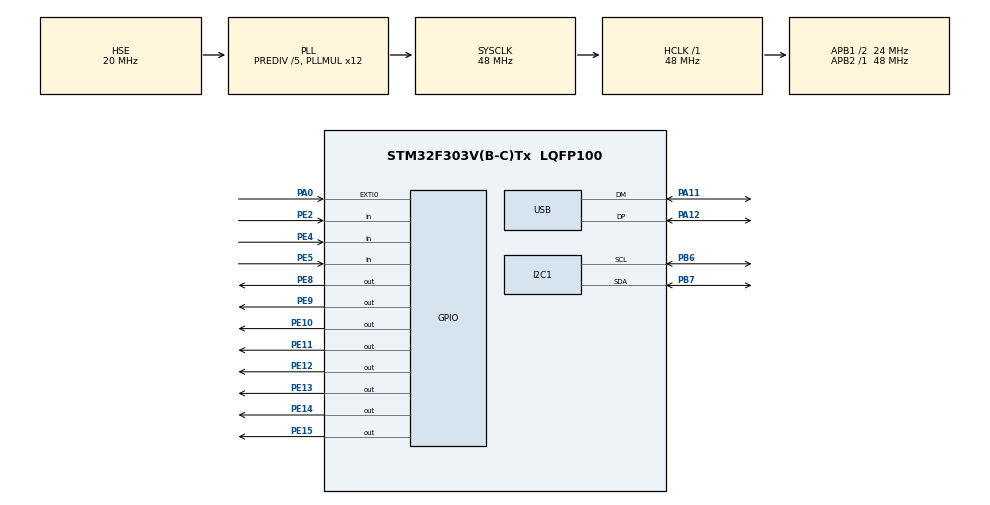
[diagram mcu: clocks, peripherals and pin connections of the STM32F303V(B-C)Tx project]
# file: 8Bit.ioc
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FREERTOS.Tasks01=defaultTask,0,128,StartDefaultTask,Default,NULL
I2C1.Timing=0x20303E5D
Mcu.Family=STM32F3
Mcu.Name=STM32F303V(B-C)Tx
Mcu.Package=LQFP100
NVIC.EXTI0_IRQn=true\:5\:0\:false\:false\:true\:true\:true
NVIC.PriorityGroup=NVIC_PRIORITYGROUP_4
NVIC.TIM1_UP_TIM16_IRQn=true\:0\:0\:false\:false\:true\:false\:false
NVIC.TIM7_IRQn=true\:5\:0\:false\:false\:true\:true\:true
NVIC.TimeBase=TIM1_UP_TIM16_IRQn
NVIC.TimeBaseIP=TIM1
PA0.Signal=GPXTI0
PA11.Mode=Device
PA11.Signal=USB_DM
PA12.Mode=Device
PA12.Signal=USB_DP
PA13.Mode=Serial_Wire
PA13.Signal=SYS_JTMS-SWDIO
PA14.Mode=Serial_Wire
PA14.Signal=SYS_JTCK-SWCLK
PB6.Mode=I2C
PB6.Signal=I2C1_SCL
PB7.Mode=I2C
PB7.Signal=I2C1_SDA
PE10.Signal=GPIO_Output
PE11.Signal=GPIO_Output
PE12.Signal=GPIO_Output
PE13.Signal=GPIO_Output
PE14.Signal=GPIO_Output
PE15.Signal=GPIO_Output
PE2.Signal=GPIO_Input
PE4.Signal=GPIO_Input
PE5.Signal=GPIO_Input
PE8.Signal=GPIO_Output
PE9.Signal=GPIO_Output
PF0-OSC_IN.Mode=HSE-External-Oscillator
PF0-OSC_IN.Signal=RCC_OSC_IN
PF1-OSC_OUT.Mode=HSE-External-Oscillator
PF1-OSC_OUT.Signal=RCC_OSC_OUT
ProjectManager.HeapSize=0x200
ProjectManager.StackSize=0x400
ProjectManager.TargetToolchain=EWARM
RCC.AHBFreq_Value=48000000
RCC.APB1CLKDivider=RCC_HCLK_DIV2
RCC.APB1Freq_Value=24000000
RCC.APB1TimFreq_Value=48000000
RCC.APB2Freq_Value=48000000
RCC.APB2TimFreq_Value=48000000
RCC.CortexFreq_Value=48000000
RCC.HCLKFreq_Value=48000000
RCC.HSE_VALUE=20000000
RCC.HSI_VALUE=8000000
RCC.I2c1ClockSelection=RCC_I2C1CLKSOURCE_SYSCLK
RCC.LSE_VALUE=32768
RCC.PLLMUL=RCC_PLL_MUL12
RCC.RCC_PLLsource_Clock_Source_FROM_HSE=RCC_HSE_PREDIV_DIV5
RCC.SYSCLKFreq_VALUE=48000000
RCC.SYSCLKSourceVirtual=RCC_SYSCLKSOURCE_PLLCLK
RCC.USBFreq_Value=48000000
TIM7.Period=999
TIM7.Prescaler=11999
VP_FREERTOS_VS_ENABLE.Mode=Enabled
VP_SYS_VS_tim1.Mode=TIM1
VP_TIM7_VS_ClockSourceINT.Mode=Enable_Timer
board=8Bit

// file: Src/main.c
/**
  ******************************************************************************
  * File Name          : main.c
  * Description        : Main program body
  ******************************************************************************
  * This notice applies to any and all portions of this file
  * that are not between comment pairs USER CODE BEGIN and
  * USER CODE END. Other portions of this file, whether
  * inserted by the user or by software development tools
  * are owned by their respective copyright owners.
  *
  * Copyright (c) 2018 STMicroelectronics International N.V.
  * All rights reserved.
  *
  * Redistribution and use in source and binary forms, with or without
  * modification, are permitted, provided that the following conditions are met:
  *
  * 1. Redistribution of source code must retain the above copyright notice,
  *    this list of conditions and the following disclaimer.
  * 2. Redistributions in binary form must reproduce the above copyright notice,
  *    this list of conditions and the following disclaimer in the documentation
  *    and/or other materials provided with the distribution.
  * 3. Neither the name of STMicroelectronics nor the names of other
  *    contributors to this software may be used to endorse or promote products
  *    derived from this software without specific written permission.
  * 4. This software, including modifications and/or derivative works of this
  *    software, must execute solely and exclusively on microcontroller or
  *    microprocessor devices manufactured by or for STMicroelectronics.
  * 5. Redistribution and use of this software other than as permitted under
  *    this license is void and will automatically terminate your rights under
  *    this license.
  *
  * THIS SOFTWARE IS PROVIDED BY STMICROELECTRONICS AND CONTRIBUTORS "AS IS"
  * AND ANY EXPRESS, IMPLIED OR STATUTORY WARRANTIES, INCLUDING, BUT NOT
  * LIMITED TO, THE IMPLIED WARRANTIES OF MERCHANTABILITY, FITNESS FOR A
  * PARTICULAR PURPOSE AND NON-INFRINGEMENT OF THIRD PARTY INTELLECTUAL PROPERTY
  * RIGHTS ARE DISCLAIMED TO THE FULLEST EXTENT PERMITTED BY LAW. IN NO EVENT
  * SHALL STMICROELECTRONICS OR CONTRIBUTORS BE LIABLE FOR ANY DIRECT, INDIRECT,
  * INCIDENTAL, SPECIAL, EXEMPLARY, OR CONSEQUENTIAL DAMAGES (INCLUDING, BUT NOT
  * LIMITED TO, PROCUREMENT OF SUBSTITUTE GOODS OR SERVICES; LOSS OF USE, DATA,
  * OR PROFITS; OR BUSINESS INTERRUPTION) HOWEVER CAUSED AND ON ANY THEORY OF
  * LIABILITY, WHETHER IN CONTRACT, STRICT LIABILITY, OR TORT (INCLUDING
  * NEGLIGENCE OR OTHERWISE) ARISING IN ANY WAY OUT OF THE USE OF THIS SOFTWARE,
  * EVEN IF ADVISED OF THE POSSIBILITY OF SUCH DAMAGE.
  *
  ******************************************************************************
  */

#include "main.h"
#include "stm32f3xx_hal.h"
#include "cmsis_os.h"

/* USER CODE BEGIN Includes */
#include "LED_Lib.h"
#include <stdio.h>
#include "Accelerometer.h"

/* USER CODE END Includes */

I2C_HandleTypeDef hi2c1;

TIM_HandleTypeDef htim7;

PCD_HandleTypeDef hpcd_USB_FS;

osThreadId defaultTaskHandle;

/* USER CODE BEGIN PV */
/* Private variables ---------------------------------------------------------*/
#define LD_PORT GPIOE

#define LD3 GPIO_PIN_9 //RED1

#define LD4 GPIO_PIN_8 //BLUE1

#define LD5 GPIO_PIN_10 //ORANGE1

#define LD6 GPIO_PIN_15 //GREEN1

#define LD7 GPIO_PIN_11 //GREEN2

#define LD8 GPIO_PIN_14 //ORANGE2

#define LD9 GPIO_PIN_12 //BLUE2

#define LD10 GPIO_PIN_13 //RED2

#define LD3_ON HAL_GPIO_WritePin(LD_PORT, LD3, GPIO_PIN_SET) //RED1

#define LD4_ON HAL_GPIO_WritePin(LD_PORT, LD4, GPIO_PIN_SET) //BLUE1

#define LD5_ON HAL_GPIO_WritePin(LD_PORT, LD5, GPIO_PIN_SET) //ORANGE1

#define LD6_ON HAL_GPIO_WritePin(LD_PORT, LD6, GPIO_PIN_SET) //GREEN1

#define LD7_ON HAL_GPIO_WritePin(LD_PORT, LD7, GPIO_PIN_SET) //GREEN2

#define LD8_ON HAL_GPIO_WritePin(LD_PORT, LD8, GPIO_PIN_SET) //ORANGE2

#define LD9_ON HAL_GPIO_WritePin(LD_PORT, LD9, GPIO_PIN_SET) //BLUE2

#define LD10_ON HAL_GPIO_WritePin(LD_PORT, LD10, GPIO_PIN_SET) //RED2

#define LD3_OFF HAL_GPIO_WritePin(LD_PORT, LD3, GPIO_PIN_RESET) //RED1

#define LD4_OFF HAL_GPIO_WritePin(LD_PORT, LD4, GPIO_PIN_RESET) //BLUE1

#define LD5_OFF HAL_GPIO_WritePin(LD_PORT, LD5, GPIO_PIN_RESET) //ORANGE1

#define LD6_OFF HAL_GPIO_WritePin(LD_PORT, LD6, GPIO_PIN_RESET) //GREEN1

#define LD7_OFF HAL_GPIO_WritePin(LD_PORT, LD7, GPIO_PIN_RESET) //GREEN2

#define LD8_OFF HAL_GPIO_WritePin(LD_PORT, LD8, GPIO_PIN_RESET) //ORANGE2

#define LD9_OFF HAL_GPIO_WritePin(LD_PORT, LD9, GPIO_PIN_RESET) //BLUE2

#define LD10_OFF HAL_GPIO_WritePin(LD_PORT, LD10, GPIO_PIN_RESET) //RED2

extern TIM_HandleTypeDef htim7;
/* USER CODE END PV */

void SystemClock_Config(void);
static void MX_GPIO_Init(void);
static void MX_I2C1_Init(void);
static void MX_USB_PCD_Init(void);
static void MX_TIM7_Init(void);
void StartDefaultTask(void const * argument);

/* USER CODE BEGIN PFP */
/* Private function prototypes -----------------------------------------------*/
extern int c;
int off=0;
/* USER CODE END PFP */

/* USER CODE BEGIN 0 */
void vOutputString(void *pvParameters)
{
for(;;)
  {
  outString("C rules, Java sucks!", off);
  outChar(0, 0); //Empty string to separate output data!
  vTaskDelay(500);
  }
}

void vOutputOrigin(void *pvParameters)
{while(1) Accel_ReadAcc();  vTaskDelay(100);}

int mover=0;

void vOutputLow(void *pvParameters)
{
  int16_t values[3]={0};
  const int BORDER=7000;
for(;;)
  {
 // for(int i=0; i<3;i++)
  Accel_ReadData(values);

  if(values[0] > BORDER)
        {

                if(values[1] > BORDER)
                {
                       outChar(1, 7+mover);
                }
                else if(values[1] < -BORDER)
                {
                        outChar(1, 1+mover);
                }
                else{ outChar(1, 0+mover); }
        }
        else if(values[0] < -BORDER)
        {

                if(values[1] > BORDER)
                {
                        outChar(1, 5+mover);
                }
                else if(values[1] < -BORDER)
                {
                        outChar(1, 3+mover);
                }
                else { outChar(1, 4+mover); }
        }
        else
        {
                if(values[1] > BORDER)
                {
                       outChar(1, 6+mover);
                }
                else if(values[1] < -BORDER)
                {
                        outChar(1, 2+mover);
                }
                else {outChar(c, 0);}
        }
  vTaskDelay(100);

  }
}

/* USER CODE END 0 */

int main(void)
{

  /* MCU Configuration----------------------------------------------------------*/

  /* Reset of all peripherals, Initializes the Flash interface and the Systick. */
  HAL_Init();

  /* Configure the system clock */
  SystemClock_Config();

  /* Initialize all configured peripherals */
  MX_GPIO_Init();
  MX_I2C1_Init();
  MX_USB_PCD_Init();
  MX_TIM7_Init();

  /* USER CODE BEGIN 2 */
  //Accel_Ini();
  HAL_TIM_Base_Start_IT(&htim7);

//xTaskCreate(vOutputString,"OOO",100,NULL,2,NULL);
 xTaskCreate(vOutputLow,"LOW",100,NULL,2,NULL);
  /* USER CODE END 2 */

  /* Create the thread(s) */
  /* definition and creation of defaultTask */
  osThreadDef(defaultTask, StartDefaultTask, osPriorityNormal, 0, 128);
  defaultTaskHandle = osThreadCreate(osThread(defaultTask), NULL);

  /* Start scheduler */
  osKernelStart();

  /* We should never get here as control is now taken by the scheduler */

  /* Infinite loop */
  /* USER CODE BEGIN WHILE */
  //char character;
  while (1)
  {
    //char character;
   //scanf(&character);
    //outChar(character);

  /* USER CODE END WHILE */

  }

}

/** System Clock Configuration
*/
void SystemClock_Config(void)
{

  RCC_OscInitTypeDef RCC_OscInitStruct;
  RCC_ClkInitTypeDef RCC_ClkInitStruct;
  RCC_PeriphCLKInitTypeDef PeriphClkInit;

    /**Initializes the CPU, AHB and APB busses clocks
    */
  RCC_OscInitStruct.OscillatorType = RCC_OSCILLATORTYPE_HSE;
  RCC_OscInitStruct.HSEState = RCC_HSE_ON;
  RCC_OscInitStruct.HSEPredivValue = RCC_HSE_PREDIV_DIV5;
  RCC_OscInitStruct.HSIState = RCC_HSI_ON;
  RCC_OscInitStruct.PLL.PLLState = RCC_PLL_ON;
  RCC_OscInitStruct.PLL.PLLSource = RCC_PLLSOURCE_HSE;
  RCC_OscInitStruct.PLL.PLLMUL = RCC_PLL_MUL12;
  if (HAL_RCC_OscConfig(&RCC_OscInitStruct) != HAL_OK)
  {
    _Error_Handler(__FILE__, __LINE__);
  }

    /**Initializes the CPU, AHB and APB busses clocks
    */
  RCC_ClkInitStruct.ClockType = RCC_CLOCKTYPE_HCLK|RCC_CLOCKTYPE_SYSCLK
                              |RCC_CLOCKTYPE_PCLK1|RCC_CLOCKTYPE_PCLK2;
  RCC_ClkInitStruct.SYSCLKSource = RCC_SYSCLKSOURCE_PLLCLK;
  RCC_ClkInitStruct.AHBCLKDivider = RCC_SYSCLK_DIV1;
  RCC_ClkInitStruct.APB1CLKDivider = RCC_HCLK_DIV2;
  RCC_ClkInitStruct.APB2CLKDivider = RCC_HCLK_DIV1;

  if (HAL_RCC_ClockConfig(&RCC_ClkInitStruct, FLASH_LATENCY_1) != HAL_OK)
  {
    _Error_Handler(__FILE__, __LINE__);
  }

  PeriphClkInit.PeriphClockSelection = RCC_PERIPHCLK_USB|RCC_PERIPHCLK_I2C1;
  PeriphClkInit.I2c1ClockSelection = RCC_I2C1CLKSOURCE_SYSCLK;
  PeriphClkInit.USBClockSelection = RCC_USBCLKSOURCE_PLL;
  if (HAL_RCCEx_PeriphCLKConfig(&PeriphClkInit) != HAL_OK)
  {
    _Error_Handler(__FILE__, __LINE__);
  }

    /**Configure the Systick interrupt time
    */
  HAL_SYSTICK_Config(HAL_RCC_GetHCLKFreq()/1000);

    /**Configure the Systick
    */
  HAL_SYSTICK_CLKSourceConfig(SYSTICK_CLKSOURCE_HCLK);

  /* SysTick_IRQn interrupt configuration */
  HAL_NVIC_SetPriority(SysTick_IRQn, 15, 0);
}

/* I2C1 init function */
static void MX_I2C1_Init(void)
{

  hi2c1.Instance = I2C1;
  hi2c1.Init.Timing = 0x20303E5D;
  hi2c1.Init.OwnAddress1 = 0;
  hi2c1.Init.AddressingMode = I2C_ADDRESSINGMODE_7BIT;
  hi2c1.Init.DualAddressMode = I2C_DUALADDRESS_DISABLE;
  hi2c1.Init.OwnAddress2 = 0;
  hi2c1.Init.OwnAddress2Masks = I2C_OA2_NOMASK;
  hi2c1.Init.GeneralCallMode = I2C_GENERALCALL_DISABLE;
  hi2c1.Init.NoStretchMode = I2C_NOSTRETCH_DISABLE;
  if (HAL_I2C_Init(&hi2c1) != HAL_OK)
  {
    _Error_Handler(__FILE__, __LINE__);
  }

    /**Configure Analogue filter
    */
  if (HAL_I2CEx_ConfigAnalogFilter(&hi2c1, I2C_ANALOGFILTER_ENABLE) != HAL_OK)
  {
    _Error_Handler(__FILE__, __LINE__);
  }

    /**Configure Digital filter
    */
  if (HAL_I2CEx_ConfigDigitalFilter(&hi2c1, 0) != HAL_OK)
  {
    _Error_Handler(__FILE__, __LINE__);
  }

}

/* TIM7 init function */
static void MX_TIM7_Init(void)
{

  TIM_MasterConfigTypeDef sMasterConfig;

  htim7.Instance = TIM7;
  htim7.Init.Prescaler = 11999;
  htim7.Init.CounterMode = TIM_COUNTERMODE_UP;
  htim7.Init.Period = 999;
  htim7.Init.AutoReloadPreload = TIM_AUTORELOAD_PRELOAD_DISABLE;
  if (HAL_TIM_Base_Init(&htim7) != HAL_OK)
  {
    _Error_Handler(__FILE__, __LINE__);
  }

  sMasterConfig.MasterOutputTrigger = TIM_TRGO_RESET;
  sMasterConfig.MasterSlaveMode = TIM_MASTERSLAVEMODE_DISABLE;
  if (HAL_TIMEx_MasterConfigSynchronization(&htim7, &sMasterConfig) != HAL_OK)
  {
    _Error_Handler(__FILE__, __LINE__);
  }

}

/* USB init function */
static void MX_USB_PCD_Init(void)
{

  hpcd_USB_FS.Instance = USB;
  hpcd_USB_FS.Init.dev_endpoints = 8;
  hpcd_USB_FS.Init.speed = PCD_SPEED_FULL;
  hpcd_USB_FS.Init.ep0_mps = DEP0CTL_MPS_64;
  hpcd_USB_FS.Init.phy_itface = PCD_PHY_EMBEDDED;
  hpcd_USB_FS.Init.low_power_enable = DISABLE;
  hpcd_USB_FS.Init.battery_charging_enable = DISABLE;
  if (HAL_PCD_Init(&hpcd_USB_FS) != HAL_OK)
  {
    _Error_Handler(__FILE__, __LINE__);
  }

}

/** Configure pins as
        * Analog
        * Input
        * Output
        * EVENT_OUT
        * EXTI
*/
static void MX_GPIO_Init(void)
{

  GPIO_InitTypeDef GPIO_InitStruct;

  /* GPIO Ports Clock Enable */
  __HAL_RCC_GPIOE_CLK_ENABLE();
  __HAL_RCC_GPIOF_CLK_ENABLE();
  __HAL_RCC_GPIOA_CLK_ENABLE();
  __HAL_RCC_GPIOB_CLK_ENABLE();

  /*Configure GPIO pin Output Level */
  HAL_GPIO_WritePin(GPIOE, GPIO_PIN_8|GPIO_PIN_9|GPIO_PIN_10|GPIO_PIN_11
                          |GPIO_PIN_12|GPIO_PIN_13|GPIO_PIN_14|GPIO_PIN_15, GPIO_PIN_RESET);

  /*Configure GPIO pins : PE2 PE4 PE5 */
  GPIO_InitStruct.Pin = GPIO_PIN_2|GPIO_PIN_4|GPIO_PIN_5;
  GPIO_InitStruct.Mode = GPIO_MODE_INPUT;
  GPIO_InitStruct.Pull = GPIO_NOPULL;
  HAL_GPIO_Init(GPIOE, &GPIO_InitStruct);

  /*Configure GPIO pin : PA0 */
  GPIO_InitStruct.Pin = GPIO_PIN_0;
  GPIO_InitStruct.Mode = GPIO_MODE_IT_RISING;
  GPIO_InitStruct.Pull = GPIO_NOPULL;
  HAL_GPIO_Init(GPIOA, &GPIO_InitStruct);

  /*Configure GPIO pins : PE8 PE9 PE10 PE11
                           PE12 PE13 PE14 PE15 */
  GPIO_InitStruct.Pin = GPIO_PIN_8|GPIO_PIN_9|GPIO_PIN_10|GPIO_PIN_11
                          |GPIO_PIN_12|GPIO_PIN_13|GPIO_PIN_14|GPIO_PIN_15;
  GPIO_InitStruct.Mode = GPIO_MODE_OUTPUT_PP;
  GPIO_InitStruct.Pull = GPIO_NOPULL;
  GPIO_InitStruct.Speed = GPIO_SPEED_FREQ_LOW;
  HAL_GPIO_Init(GPIOE, &GPIO_InitStruct);

  /* EXTI interrupt init*/
  HAL_NVIC_SetPriority(EXTI0_IRQn, 5, 0);
  HAL_NVIC_EnableIRQ(EXTI0_IRQn);

}

/* StartDefaultTask function */
void StartDefaultTask(void const * argument)
{

  for(;;)
  {
    osDelay(1);
  }
}

void HAL_TIM_PeriodElapsedCallback(TIM_HandleTypeDef *htim)
{
  if (htim->Instance == TIM1) {
    HAL_IncTick();
  }
}

void _Error_Handler(char * file, int line)
{
  while(1)
  {
  }
}

/************************ (C) COPYRIGHT STMicroelectronics *****END OF FILE****/
